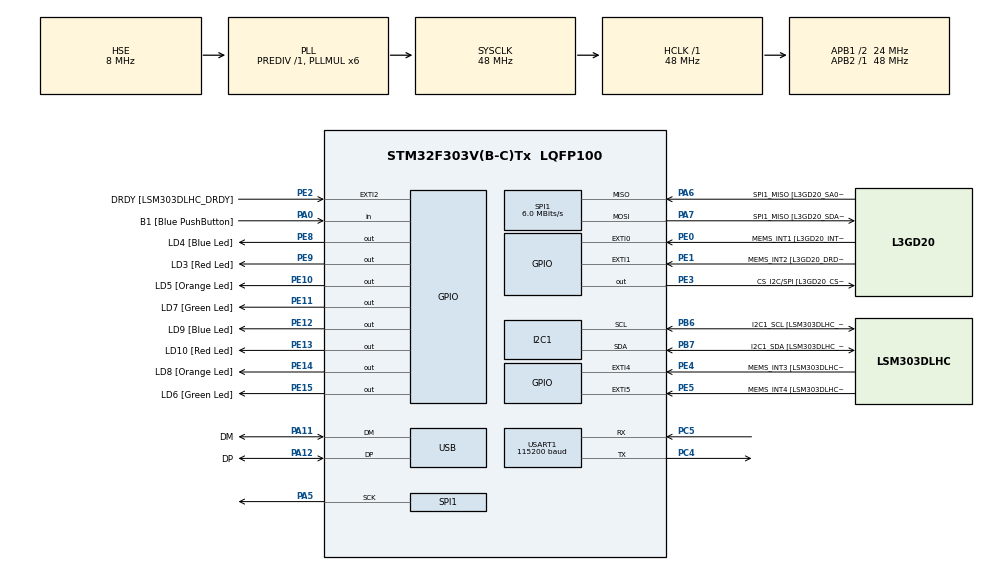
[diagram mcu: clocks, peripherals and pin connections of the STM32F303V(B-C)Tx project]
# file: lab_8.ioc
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I2C1.Timing=0x2000090E
I2C1.Timing-I2C=0x2000090E
Mcu.Family=STM32F3
Mcu.Name=STM32F303V(B-C)Tx
Mcu.Package=LQFP100
NVIC.PriorityGroup=NVIC_PRIORITYGROUP_0
NVIC.SPI1_IRQn=true\:0\:0\:false\:false\:true\:true\:true\:true
NVIC.USB_LP_CAN_RX0_IRQn=true\:0\:0\:false\:false\:true\:false\:true\:true
PA0.GPIO_Label=B1 [Blue PushButton]
PA0.Signal=GPIO_Input
PA11.GPIO_Label=DM
PA11.Mode=Device
PA11.Signal=USB_DM
PA12.GPIO_Label=DP
PA12.Mode=Device
PA12.Signal=USB_DP
PA13.GPIO_Label=SWDIO
PA13.Mode=Serial_Wire
PA13.Signal=SYS_JTMS-SWDIO
PA14.GPIO_Label=SWCLK
PA14.Mode=Serial_Wire
PA14.Signal=SYS_JTCK-SWCLK
PA5.Mode=Full_Duplex_Master
PA5.Signal=SPI1_SCK
PA6.GPIO_Label=SPI1_MISO [L3GD20_SA0/SDO]
PA6.Mode=Full_Duplex_Master
PA6.Signal=SPI1_MISO
PA7.GPIO_Label=SPI1_MISO [L3GD20_SDA/SDI/SDO]
PA7.Mode=Full_Duplex_Master
PA7.Signal=SPI1_MOSI
PB3.GPIO_Label=SWO
PB3.Signal=SYS_JTDO-TRACESWO
PB6.GPIO_Label=I2C1_SCL [LSM303DLHC_SCL]
PB6.GPIO_Pu=GPIO_PULLUP
PB6.Mode=I2C
PB6.Signal=I2C1_SCL
PB7.GPIO_Label=I2C1_SDA [LSM303DLHC_SDA]
PB7.GPIO_Pu=GPIO_PULLUP
PB7.Mode=I2C
PB7.Signal=I2C1_SDA
PC14-OSC32_IN.GPIO_Label=OSC32_IN
PC14-OSC32_IN.Signal=RCC_OSC32_IN
PC15-OSC32_OUT.GPIO_Label=OSC32_OUT
PC15-OSC32_OUT.Signal=RCC_OSC32_OUT
PC4.Mode=Asynchronous
PC4.Signal=USART1_TX
PC5.Mode=Asynchronous
PC5.Signal=USART1_RX
PE0.GPIO_Label=MEMS_INT1 [L3GD20_INT1]
PE0.GPIO_ModeDefaultEXTI=GPIO_MODE_EVT_RISING
PE0.Signal=GPXTI0
PE1.GPIO_Label=MEMS_INT2 [L3GD20_DRDY/INT2]
PE1.GPIO_ModeDefaultEXTI=GPIO_MODE_EVT_RISING
PE1.Signal=GPXTI1
PE10.GPIO_Label=LD5 [Orange Led]
PE10.Signal=GPIO_Output
PE11.GPIO_Label=LD7 [Green Led]
PE11.Signal=GPIO_Output
PE12.GPIO_Label=LD9 [Blue Led]
PE12.Signal=GPIO_Output
PE13.GPIO_Label=LD10 [Red Led]
PE13.Signal=GPIO_Output
PE14.GPIO_Label=LD8 [Orange Led]
PE14.Signal=GPIO_Output
PE15.GPIO_Label=LD6 [Green Led]
PE15.Signal=GPIO_Output
PE2.GPIO_Label=DRDY [LSM303DLHC_DRDY]
PE2.GPIO_ModeDefaultEXTI=GPIO_MODE_EVT_RISING
PE2.Signal=GPXTI2
PE3.GPIO_Label=CS_I2C/SPI [L3GD20_CS_I2C/SPI]
PE3.Signal=GPIO_Output
PE4.GPIO_Label=MEMS_INT3 [LSM303DLHC_INT1]
PE4.GPIO_ModeDefaultEXTI=GPIO_MODE_EVT_RISING
PE4.Signal=GPXTI4
PE5.GPIO_Label=MEMS_INT4 [LSM303DLHC_INT2]
PE5.GPIO_ModeDefaultEXTI=GPIO_MODE_EVT_RISING
PE5.Signal=GPXTI5
PE8.GPIO_Label=LD4 [Blue Led]
PE8.Signal=GPIO_Output
PE9.GPIO_Label=LD3 [Red Led]
PE9.Signal=GPIO_Output
PF0-OSC_IN.GPIO_Label=OSC_IN
PF0-OSC_IN.Mode=HSE-External-Clock-Source
PF0-OSC_IN.Signal=RCC_OSC_IN
PF1-OSC_OUT.GPIO_Label=OSC_OUT
PF1-OSC_OUT.Signal=RCC_OSC_OUT
ProjectManager.HeapSize=0x200
ProjectManager.StackSize=0x400
ProjectManager.TargetToolchain=CMake
RCC.AHBFreq_Value=48000000
RCC.APB1CLKDivider=RCC_HCLK_DIV2
RCC.APB1Freq_Value=24000000
RCC.APB1TimFreq_Value=48000000
RCC.APB2Freq_Value=48000000
RCC.APB2TimFreq_Value=48000000
RCC.CortexFreq_Value=48000000
RCC.HCLKFreq_Value=48000000
RCC.HSE_VALUE=8000000
RCC.HSI_VALUE=8000000
RCC.LSE_VALUE=32768
RCC.PLLMUL=RCC_PLL_MUL6
RCC.SYSCLKFreq_VALUE=48000000
RCC.SYSCLKSourceVirtual=RCC_SYSCLKSOURCE_PLLCLK
RCC.USBFreq_Value=48000000
SPI1.BaudRatePrescaler=SPI_BAUDRATEPRESCALER_8
SPI1.CLKPhase=SPI_PHASE_2EDGE
SPI1.CLKPolarity=SPI_POLARITY_HIGH
SPI1.CalculateBaudRate=6.0 MBits/s
SPI1.DataSize=SPI_DATASIZE_8BIT
SPI1.Direction=SPI_DIRECTION_2LINES
SPI1.Mode=SPI_MODE_MASTER
SPI1.VirtualType=VM_MASTER
USART1.BaudRate=115200
USART1.VirtualMode-Asynchronous=VM_ASYNC
USB_DEVICE.CLASS_NAME_FS=CDC
USB_DEVICE.VirtualMode=Cdc
USB_DEVICE.VirtualModeFS=Cdc_FS
VP_USB_DEVICE_VS_USB_DEVICE_CDC_FS.Mode=CDC_FS
board=STM32F3DISCOVERY

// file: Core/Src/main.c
/* USER CODE BEGIN Header */
/**
  ******************************************************************************
  * @file           : main.c
  * @brief          : Main program body
  ******************************************************************************
  * @attention
  *
  * Copyright (c) 2025 STMicroelectronics.
  * All rights reserved.
  *
  * This software is licensed under terms that can be found in the LICENSE file
  * in the root directory of this software component.
  * If no LICENSE file comes with this software, it is provided AS-IS.
  *
  ******************************************************************************
  */
/* USER CODE END Header */
#include "main.h"
#include "usb_device.h"
#include <stdio.h>
#include <string.h>

I2C_HandleTypeDef hi2c1;

SPI_HandleTypeDef hspi1;

UART_HandleTypeDef huart1;

/* USER CODE BEGIN PV */
#define GYRO_CS_PORT GPIOE
#define GYRO_CS_PIN  CS_I2C_SPI_Pin
#define GYRO_CTRL_REG1     0x20U
#define GYRO_CTRL_REG4     0x23U
#define GYRO_OUT_TEMP      0x26U
#define GYRO_OUT_X_L       0x28U
#define GYRO_OUT_X_H       0x29U
#define GYRO_OUT_Y_L       0x2AU
#define GYRO_OUT_Y_H       0x2BU
#define GYRO_OUT_Z_L       0x2CU
#define GYRO_OUT_Z_H       0x2DU
#define GYRO_SPI_READ      0x80
#define GYRO_SPI_AUTOINC   0x40
#define GYRO_SENS_245DPS   0.00875f

// ---- Temperature calibration ----
#define CAL_ROOM_C 25   // <-- set this to your actual room temp (°C)

static int8_t  g_t0 = 0;      // baseline raw temp at startup
static int     g_temp_slope = -1; // default, will be set by WHO (LSB/°C)

/* USER CODE END PV */

void SystemClock_Config(void);
static void MX_GPIO_Init(void);
static void MX_I2C1_Init(void);
static void MX_SPI1_Init(void);
static void MX_USART1_UART_Init(void);

static uint8_t  txb[8], rxb[8];
/* USER CODE BEGIN PFP */
static void gyro_write_reg(uint8_t reg, uint8_t val);
static void gyro_read_regs(uint8_t start_reg, uint8_t *dst, uint16_t len);
static void gyro_init(void);
/* USER CODE END PFP */

/* USER CODE BEGIN 0 */
// Calibrate temp at startup: pick slope from WHO and average raw baseline

static uint8_t gyro_read_u8(uint8_t reg)
{
  uint8_t cmd = reg | 0x80; // read
  uint8_t val = 0;
  HAL_GPIO_WritePin(GYRO_CS_PORT, GYRO_CS_PIN, GPIO_PIN_RESET);
  HAL_SPI_Transmit(&hspi1, &cmd, 1, HAL_MAX_DELAY);
  HAL_SPI_Receive(&hspi1, &val, 1, HAL_MAX_DELAY);
  HAL_GPIO_WritePin(GYRO_CS_PORT, GYRO_CS_PIN, GPIO_PIN_SET);
  return val;
}

static void gyro_temp_calibrate(void)
{
  uint8_t who = gyro_read_u8(0x0F); // WHO_AM_I

  // L3GD20 / L3GD20H -> 0xD4 or 0xD7  => +1 LSB/°C
  // I3G4250D         -> 0xD3          => -1 LSB/°C
  if (who == 0xD4 || who == 0xD7) g_temp_slope = +1;
  else                            g_temp_slope = -1;

  int32_t acc = 0;
  for (int i = 0; i < 32; i++) {
    acc += (int8_t)gyro_read_u8(GYRO_OUT_TEMP);
    HAL_Delay(5);
  }
  g_t0 = (int8_t)(acc / 32);

  // Optional banner (comment out if you don’t want prints here)
  char msg[80];
  int n = snprintf(msg, sizeof(msg), "WHO=0x%02X, t0=%d, slope=%d\r\n",
                   who, (int)g_t0, g_temp_slope);
  HAL_UART_Transmit(&huart1, (uint8_t*)msg, (uint16_t)n, HAL_MAX_DELAY);
}

static void gyro_write_reg(uint8_t reg, uint8_t val)
{
  HAL_GPIO_WritePin(GYRO_CS_PORT, GYRO_CS_PIN, GPIO_PIN_RESET); // CS LOW
  txb[0] = reg & 0x7FU;  // write, no auto-inc
  txb[1] = val;
  HAL_SPI_Transmit(&hspi1, txb, 2, HAL_MAX_DELAY);
  HAL_GPIO_WritePin(GYRO_CS_PORT, GYRO_CS_PIN, GPIO_PIN_SET);   // CS HIGH
  HAL_Delay(1);
}

static void gyro_read_regs(uint8_t start_reg, uint8_t *dst, uint16_t len)
{
  uint8_t cmd = start_reg | GYRO_SPI_READ | (len > 1 ? GYRO_SPI_AUTOINC : 0);
  HAL_GPIO_WritePin(GYRO_CS_PORT, GYRO_CS_PIN, GPIO_PIN_RESET); // CS LOW
  HAL_SPI_Transmit(&hspi1, &cmd, 1, HAL_MAX_DELAY);
  HAL_SPI_Receive(&hspi1, dst, len, HAL_MAX_DELAY);
  HAL_GPIO_WritePin(GYRO_CS_PORT, GYRO_CS_PIN, GPIO_PIN_SET);   // CS HIGH
}

static void gyro_init(void)
{
  // CTRL_REG1: PD=1 (power on), XYZ enable, ODR default
  // 0b0000 1111 = 0x0F
  gyro_write_reg(GYRO_CTRL_REG1, 0x0F);

  // Optional: CTRL_REG4 for full-scale. Leave default (±245 dps) per lab.
  // Example if you want to set FS=±245 dps explicitly: 0x00
  // gyro_write_reg(GYRO_CTRL_REG4, 0x00);

  HAL_Delay(10);
}
/* USER CODE END 0 */
#define GYRO_CS_PORT GPIOE
#define GYRO_CS_PIN  CS_I2C_SPI_Pin
int main(void)
{
  HAL_Init();
  SystemClock_Config();

  MX_GPIO_Init();
  HAL_GPIO_WritePin(GYRO_CS_PORT, GYRO_CS_PIN, GPIO_PIN_SET); // idle HIGH

  MX_I2C1_Init();
  MX_SPI1_Init();
  MX_USART1_UART_Init();
  MX_USB_DEVICE_Init();

  // Now safe to talk to gyro
  gyro_init();
  // After: MX_GPIO_Init(); MX_SPI1_Init(); MX_USART1_UART_Init(); gyro_init();
gyro_temp_calibrate();

  uint8_t who = gyro_read_u8(0x0F);
  uint8_t c1  = gyro_read_u8(0x20);
  char b[64];
  int m = snprintf(b, sizeof(b), "WHO=0x%02X, CTRL1=0x%02X\r\n", who, c1);
  HAL_UART_Transmit(&huart1, (uint8_t*)b, (uint16_t)m, HAL_MAX_DELAY);

  // ---- main loop ----
  while (1)
  {
    // --- Temperature (calibrated to real °C) ---
int8_t t_raw = 0;
gyro_read_regs(GYRO_OUT_TEMP, (uint8_t*)&t_raw, 1);
int temp_c = CAL_ROOM_C + g_temp_slope * ((int)t_raw - (int)g_t0);
    // alt for L3GD20/H: int temp_c = (int)t_raw;

    // XYZ
    uint8_t raw[6];
    gyro_read_regs(GYRO_OUT_X_L, raw, 6);
    int16_t x_raw = (int16_t)((((uint16_t)raw[1]) << 8) | raw[0]);
    int16_t y_raw = (int16_t)((((uint16_t)raw[3]) << 8) | raw[2]);
    int16_t z_raw = (int16_t)((((uint16_t)raw[5]) << 8) | raw[4]);

    // dps -> fixed-point ×100 for UART
    float x_dps = x_raw * GYRO_SENS_245DPS;
    float y_dps = y_raw * GYRO_SENS_245DPS;
    float z_dps = z_raw * GYRO_SENS_245DPS;

    int xi = (int)(x_dps * 100.0f);
    int yi = (int)(y_dps * 100.0f);
    int zi = (int)(z_dps * 100.0f);

    char line[96];
    int n = snprintf(line, sizeof(line), "%d, %d, %d, %d\r\n",
                 temp_c, xi, yi, zi);
    if (n > 0) {
      HAL_UART_Transmit(&huart1, (uint8_t*)line, (uint16_t)n, HAL_MAX_DELAY);
    }

    HAL_Delay(100);
  }
}

void SystemClock_Config(void)
{
  RCC_OscInitTypeDef RCC_OscInitStruct = {0};
  RCC_ClkInitTypeDef RCC_ClkInitStruct = {0};
  RCC_PeriphCLKInitTypeDef PeriphClkInit = {0};

  /** Initializes the RCC Oscillators according to the specified parameters
  * in the RCC_OscInitTypeDef structure.
  */
  RCC_OscInitStruct.OscillatorType = RCC_OSCILLATORTYPE_HSI|RCC_OSCILLATORTYPE_HSE;
  RCC_OscInitStruct.HSEState = RCC_HSE_BYPASS;
  RCC_OscInitStruct.HSEPredivValue = RCC_HSE_PREDIV_DIV1;
  RCC_OscInitStruct.HSIState = RCC_HSI_ON;
  RCC_OscInitStruct.HSICalibrationValue = RCC_HSICALIBRATION_DEFAULT;
  RCC_OscInitStruct.PLL.PLLState = RCC_PLL_ON;
  RCC_OscInitStruct.PLL.PLLSource = RCC_PLLSOURCE_HSE;
  RCC_OscInitStruct.PLL.PLLMUL = RCC_PLL_MUL6;
  if (HAL_RCC_OscConfig(&RCC_OscInitStruct) != HAL_OK)
  {
    Error_Handler();
  }

  /** Initializes the CPU, AHB and APB buses clocks
  */
  RCC_ClkInitStruct.ClockType = RCC_CLOCKTYPE_HCLK|RCC_CLOCKTYPE_SYSCLK
                              |RCC_CLOCKTYPE_PCLK1|RCC_CLOCKTYPE_PCLK2;
  RCC_ClkInitStruct.SYSCLKSource = RCC_SYSCLKSOURCE_PLLCLK;
  RCC_ClkInitStruct.AHBCLKDivider = RCC_SYSCLK_DIV1;
  RCC_ClkInitStruct.APB1CLKDivider = RCC_HCLK_DIV2;
  RCC_ClkInitStruct.APB2CLKDivider = RCC_HCLK_DIV1;

  if (HAL_RCC_ClockConfig(&RCC_ClkInitStruct, FLASH_LATENCY_1) != HAL_OK)
  {
    Error_Handler();
  }
  PeriphClkInit.PeriphClockSelection = RCC_PERIPHCLK_USB|RCC_PERIPHCLK_USART1
                              |RCC_PERIPHCLK_I2C1;
  PeriphClkInit.Usart1ClockSelection = RCC_USART1CLKSOURCE_PCLK2;
  PeriphClkInit.I2c1ClockSelection = RCC_I2C1CLKSOURCE_HSI;
  PeriphClkInit.USBClockSelection = RCC_USBCLKSOURCE_PLL;
  if (HAL_RCCEx_PeriphCLKConfig(&PeriphClkInit) != HAL_OK)
  {
    Error_Handler();
  }
}

static void MX_I2C1_Init(void)
{

  hi2c1.Instance = I2C1;
  hi2c1.Init.Timing = 0x2000090E;
  hi2c1.Init.OwnAddress1 = 0;
  hi2c1.Init.AddressingMode = I2C_ADDRESSINGMODE_7BIT;
  hi2c1.Init.DualAddressMode = I2C_DUALADDRESS_DISABLE;
  hi2c1.Init.OwnAddress2 = 0;
  hi2c1.Init.OwnAddress2Masks = I2C_OA2_NOMASK;
  hi2c1.Init.GeneralCallMode = I2C_GENERALCALL_DISABLE;
  hi2c1.Init.NoStretchMode = I2C_NOSTRETCH_DISABLE;
  if (HAL_I2C_Init(&hi2c1) != HAL_OK)
  {
    Error_Handler();
  }

  /** Configure Analogue filter
  */
  if (HAL_I2CEx_ConfigAnalogFilter(&hi2c1, I2C_ANALOGFILTER_ENABLE) != HAL_OK)
  {
    Error_Handler();
  }

  /** Configure Digital filter
  */
  if (HAL_I2CEx_ConfigDigitalFilter(&hi2c1, 0) != HAL_OK)
  {
    Error_Handler();
  }

}

static void MX_SPI1_Init(void)
{

  /* SPI1 parameter configuration*/
  hspi1.Instance = SPI1;
  hspi1.Init.Mode = SPI_MODE_MASTER;
  hspi1.Init.Direction = SPI_DIRECTION_2LINES;
  hspi1.Init.DataSize = SPI_DATASIZE_8BIT;
  hspi1.Init.CLKPolarity = SPI_POLARITY_HIGH;
  hspi1.Init.CLKPhase = SPI_PHASE_2EDGE;
  hspi1.Init.NSS = SPI_NSS_SOFT;
  hspi1.Init.BaudRatePrescaler = SPI_BAUDRATEPRESCALER_8;
  hspi1.Init.FirstBit = SPI_FIRSTBIT_MSB;
  hspi1.Init.TIMode = SPI_TIMODE_DISABLE;
  hspi1.Init.CRCCalculation = SPI_CRCCALCULATION_DISABLE;
  hspi1.Init.CRCPolynomial = 7;
  hspi1.Init.CRCLength = SPI_CRC_LENGTH_DATASIZE;
  hspi1.Init.NSSPMode = SPI_NSS_PULSE_DISABLE;
  if (HAL_SPI_Init(&hspi1) != HAL_OK)
  {
    Error_Handler();
  }

}

static void MX_USART1_UART_Init(void)
{

  huart1.Instance = USART1;
  huart1.Init.BaudRate = 115200;
  huart1.Init.WordLength = UART_WORDLENGTH_8B;
  huart1.Init.StopBits = UART_STOPBITS_1;
  huart1.Init.Parity = UART_PARITY_NONE;
  huart1.Init.Mode = UART_MODE_TX_RX;
  huart1.Init.HwFlowCtl = UART_HWCONTROL_NONE;
  huart1.Init.OverSampling = UART_OVERSAMPLING_16;
  huart1.Init.OneBitSampling = UART_ONE_BIT_SAMPLE_DISABLE;
  huart1.AdvancedInit.AdvFeatureInit = UART_ADVFEATURE_NO_INIT;
  if (HAL_UART_Init(&huart1) != HAL_OK)
  {
    Error_Handler();
  }

}

static void MX_GPIO_Init(void)
{
  GPIO_InitTypeDef GPIO_InitStruct = {0};

  /* GPIO Ports Clock Enable */
  __HAL_RCC_GPIOE_CLK_ENABLE();
  __HAL_RCC_GPIOC_CLK_ENABLE();
  __HAL_RCC_GPIOF_CLK_ENABLE();
  __HAL_RCC_GPIOA_CLK_ENABLE();
  __HAL_RCC_GPIOB_CLK_ENABLE();

  /*Configure GPIO pin Output Level */
  HAL_GPIO_WritePin(GPIOE, CS_I2C_SPI_Pin|LD4_Pin|LD3_Pin|LD5_Pin
                          |LD7_Pin|LD9_Pin|LD10_Pin|LD8_Pin
                          |LD6_Pin, GPIO_PIN_RESET);

  /*Configure GPIO pins : DRDY_Pin MEMS_INT3_Pin MEMS_INT4_Pin MEMS_INT1_Pin
                           MEMS_INT2_Pin */
  GPIO_InitStruct.Pin = DRDY_Pin|MEMS_INT3_Pin|MEMS_INT4_Pin|MEMS_INT1_Pin
                          |MEMS_INT2_Pin;
  GPIO_InitStruct.Mode = GPIO_MODE_EVT_RISING;
  GPIO_InitStruct.Pull = GPIO_NOPULL;
  HAL_GPIO_Init(GPIOE, &GPIO_InitStruct);

  /*Configure GPIO pins : CS_I2C_SPI_Pin LD4_Pin LD3_Pin LD5_Pin
                           LD7_Pin LD9_Pin LD10_Pin LD8_Pin
                           LD6_Pin */
  GPIO_InitStruct.Pin = CS_I2C_SPI_Pin|LD4_Pin|LD3_Pin|LD5_Pin
                          |LD7_Pin|LD9_Pin|LD10_Pin|LD8_Pin
                          |LD6_Pin;
  GPIO_InitStruct.Mode = GPIO_MODE_OUTPUT_PP;
  GPIO_InitStruct.Pull = GPIO_NOPULL;
  GPIO_InitStruct.Speed = GPIO_SPEED_FREQ_LOW;
  HAL_GPIO_Init(GPIOE, &GPIO_InitStruct);

  /*Configure GPIO pin : B1_Pin */
  GPIO_InitStruct.Pin = B1_Pin;
  GPIO_InitStruct.Mode = GPIO_MODE_INPUT;
  GPIO_InitStruct.Pull = GPIO_NOPULL;
  HAL_GPIO_Init(B1_GPIO_Port, &GPIO_InitStruct);

}

void Error_Handler(void)
{
  __disable_irq();
  while (1)
  {
  }
}
